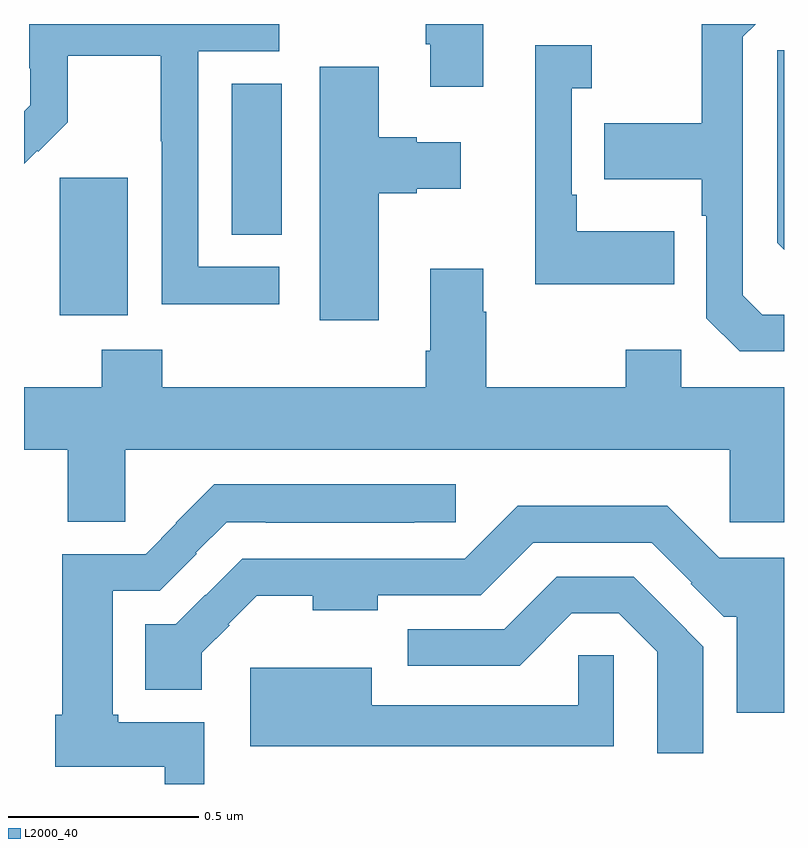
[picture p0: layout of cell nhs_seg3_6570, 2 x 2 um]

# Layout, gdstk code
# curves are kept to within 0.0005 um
import gdstk
lib = gdstk.Library(unit=1e-6, precision=1e-09)
def R(c, l, rs):  # rectangles x0, y0, x1, y1
    for r in rs: c.add(gdstk.rectangle(r[:2], r[2:], *l))
def P(c, l, *ps):  # polygons
    for p in ps: c.add(gdstk.Polygon(p, *l))
L2000_40 = (2000, 40)

nhs_seg3_6570 = lib.new_cell('nhs_seg3_6570')
R(nhs_seg3_6570, L2000_40, [(193.094,670.634,193.273,670.995), (193.547,670.846,193.678,671.243)])
P(nhs_seg3_6570, L2000_40, [(194.209,671.4),(194.057,671.4),(194.057,671.347),(194.069,671.347),(194.069,671.235),(194.209,671.235)],
  [(195,670.635),(194.943,670.635),(194.892,670.686),(194.892,671.367),(194.925,671.4),(194.784,671.4),(194.784,671.139),(194.527,671.139),(194.527,670.991),(194.784,670.991),(194.784,670.895),(194.796,670.895),(194.796,670.626),(194.883,670.539),(195,670.539)],
  [(193.672,670.761),(193.458,670.761),(193.458,671.328),(193.672,671.328),(193.672,671.4),(193.014,671.4),(193.014,671.283),(193.016,671.283),(193.016,671.186),(193,671.17),(193,671.032),(193.035,671.067),(193.038,671.064),(193.115,671.141),(193.115,671.316),(193.36,671.316),(193.36,671.092),(193.362,671.092),(193.362,670.663),(193.672,670.663)],
  [(194.711,670.855),(194.455,670.855),(194.455,670.951),(194.442,670.951),(194.442,671.231),(194.494,671.231),(194.494,671.344),(194.345,671.344),(194.345,670.715),(194.711,670.715)],
  [(195,671.331),(194.982,671.331),(194.982,670.824),(195,670.806)],
  [(193.933,670.955),(194.033,670.955),(194.033,670.967),(194.149,670.967),(194.149,671.089),(194.033,671.089),(194.033,671.102),(193.933,671.102),(193.933,671.287),(193.778,671.287),(193.778,670.62),(193.933,670.62)],
  [(195,670.444),(194.73,670.444),(194.73,670.543),(194.584,670.543),(194.584,670.444),(194.217,670.444),(194.217,670.643),(194.209,670.643),(194.209,670.756),(194.069,670.756),(194.069,670.54),(194.057,670.54),(194.057,670.444),(193.364,670.444),(193.364,670.543),(193.204,670.543),(193.204,670.444),(193,670.444),(193,670.28),(193.115,670.28),(193.115,670.09),(193.266,670.09),(193.266,670.28),(194.857,670.28),(194.857,670.089),(195,670.089)],
  [(193.474,669.562),(193.248,669.562),(193.248,669.582),(193.234,669.582),(193.234,669.909),(193.357,669.909),(193.454,670.006),(193.452,670.008),(193.533,670.089),(193.636,670.089),(193.636,670.088),(194.027,670.088),(194.027,670.089),(194.136,670.089),(194.136,670.189),(193.5,670.189),(193.399,670.088),(193.401,670.086),(193.32,670.005),(193.1,670.005),(193.1,669.582),(193.082,669.582),(193.082,669.446),(193.37,669.446),(193.37,669.4),(193.474,669.4)],
  [(195,669.996),(194.829,669.996),(194.693,670.132),(194.299,670.132),(194.16,669.993),(193.574,669.993),(193.478,669.897),(193.477,669.898),(193.399,669.82),(193.319,669.82),(193.319,669.648),(193.468,669.648),(193.468,669.745),(193.541,669.818),(193.538,669.821),(193.613,669.896),(193.76,669.896),(193.76,669.857),(193.931,669.857),(193.931,669.897),(194.202,669.897),(194.34,670.035),(194.652,670.035),(194.757,669.93),(194.754,669.927),(194.842,669.84),(194.876,669.84),(194.876,669.588),(195,669.588)],
  [(194.788,669.761),(194.605,669.945),(194.402,669.945),(194.264,669.807),(194.01,669.807),(194.01,669.711),(194.304,669.711),(194.442,669.849),(194.565,669.849),(194.667,669.748),(194.667,669.481),(194.788,669.481)],
  [(194.552,669.739),(194.458,669.739),(194.458,669.607),(193.915,669.607),(193.915,669.706),(193.596,669.706),(193.596,669.5),(194.552,669.5)])

lib.write_gds('nhs_seg3_6570.gds')
